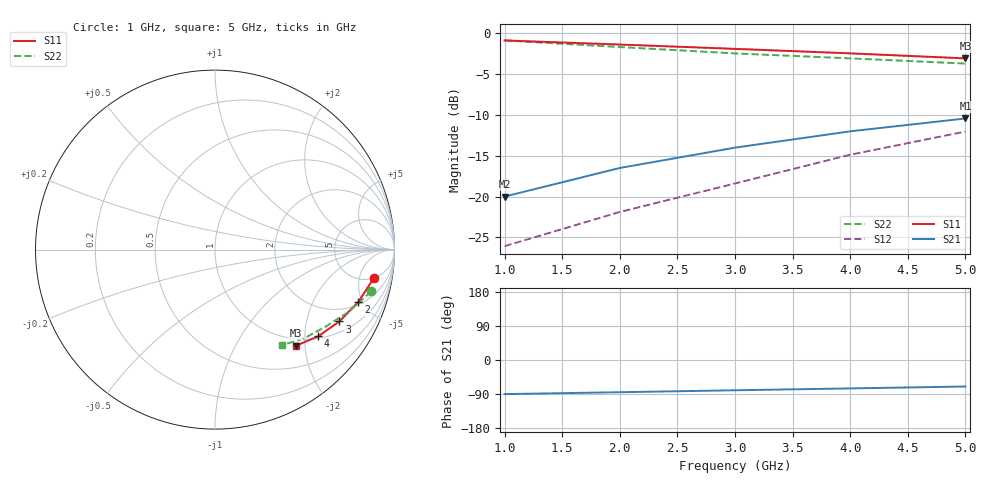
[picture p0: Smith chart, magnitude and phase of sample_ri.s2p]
# GHz S RI R 50
! Sample 2-port S-parameter data in Real/Imaginary format
! Test file for different format support
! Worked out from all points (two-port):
!   5 points, 1 GHz to 5 GHz, reference 50 ohm
!   highest |S21| = -10.45 dB at 5 GHz (marker M1); lowest = -20.0 dB at 1 GHz (marker M2)
!   |S21| within 3 dB of the highest: 3.284 GHz to end of sweep
!   lowest |S11| = -3.1 dB at 5 GHz (marker M3), VSWR 5.66, Z = 43.3 - j90.9 ohm
!   |S11| at or under -10 dB: nowhere
!   |S22| runs from -3.7 to -0.9 dB; largest |S21 - S12| = 0.36
!   S11 on the Smith chart (normalised r, x): 1 GHz: 5.09, -8.41; 2 GHz: 2.21, -4.65; 3 GHz: 1.41, -3.15; 4 GHz: 1.05, -2.33; 5 GHz: 0.87, -1.82
1  0.887 -0.156  0 -0.1  0.043 0.025  0.87 -0.233
2  0.799 -0.291  0.013 -0.149  0.073 0.034  0.744 -0.347
3  0.693 -0.4  0.035 -0.196  0.113 0.041  0.615 -0.43
4  0.575 -0.483  0.065 -0.242  0.174 0.047  0.495 -0.495
5  0.45 -0.536  0.103 -0.282  0.246 0.043  0.373 -0.533
